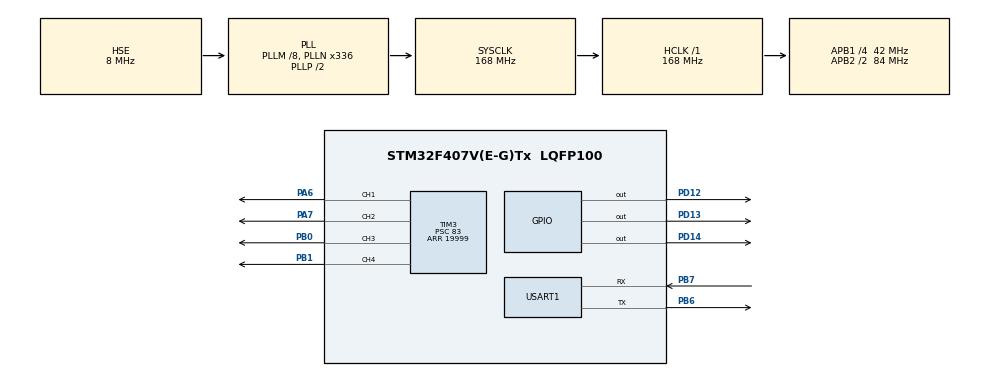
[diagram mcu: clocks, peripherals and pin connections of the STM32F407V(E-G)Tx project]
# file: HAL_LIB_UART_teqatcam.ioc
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Mcu.Family=STM32F4
Mcu.Name=STM32F407V(E-G)Tx
Mcu.Package=LQFP100
NVIC.PriorityGroup=NVIC_PRIORITYGROUP_4
NVIC.USART1_IRQn=true\:0\:0\:false\:false\:true\:true\:true
PA6.Signal=S_TIM3_CH1
PA7.Signal=S_TIM3_CH2
PB0.Signal=S_TIM3_CH3
PB1.Signal=S_TIM3_CH4
PB6.Mode=Asynchronous
PB6.Signal=USART1_TX
PB7.Mode=Asynchronous
PB7.Signal=USART1_RX
PD12.Signal=GPIO_Output
PD13.Signal=GPIO_Output
PD14.Signal=GPIO_Output
PH0-OSC_IN.Mode=HSE-External-Oscillator
PH0-OSC_IN.Signal=RCC_OSC_IN
PH1-OSC_OUT.Mode=HSE-External-Oscillator
PH1-OSC_OUT.Signal=RCC_OSC_OUT
ProjectManager.HeapSize=0x200
ProjectManager.StackSize=0x400
ProjectManager.TargetToolchain=STM32CubeIDE
RCC.48MHZClocksFreq_Value=84000000
RCC.AHBFreq_Value=168000000
RCC.APB1CLKDivider=RCC_HCLK_DIV4
RCC.APB1Freq_Value=42000000
RCC.APB1TimFreq_Value=84000000
RCC.APB2CLKDivider=RCC_HCLK_DIV2
RCC.APB2Freq_Value=84000000
RCC.APB2TimFreq_Value=168000000
RCC.CortexFreq_Value=168000000
RCC.HCLKFreq_Value=168000000
RCC.HSE_VALUE=8000000
RCC.HSI_VALUE=16000000
RCC.LSE_VALUE=32768
RCC.PLLM=8
RCC.PLLN=336
RCC.PLLSourceVirtual=RCC_PLLSOURCE_HSE
RCC.SYSCLKFreq_VALUE=168000000
RCC.SYSCLKSource=RCC_SYSCLKSOURCE_PLLCLK
RCC.VCOOutputFreq_Value=336000000
SH.S_TIM3_CH1.0=TIM3_CH1,PWM Generation1 CH1
SH.S_TIM3_CH2.0=TIM3_CH2,PWM Generation2 CH2
SH.S_TIM3_CH3.0=TIM3_CH3,PWM Generation3 CH3
SH.S_TIM3_CH4.0=TIM3_CH4,PWM Generation4 CH4
TIM3.Channel-PWM\ Generation1\ CH1=TIM_CHANNEL_1
TIM3.Channel-PWM\ Generation2\ CH2=TIM_CHANNEL_2
TIM3.Channel-PWM\ Generation3\ CH3=TIM_CHANNEL_3
TIM3.Channel-PWM\ Generation4\ CH4=TIM_CHANNEL_4
TIM3.Period=19999
TIM3.Prescaler=83
TIM3.Pulse-PWM\ Generation1\ CH1=0
TIM3.Pulse-PWM\ Generation2\ CH2=0
TIM3.Pulse-PWM\ Generation3\ CH3=0
TIM3.Pulse-PWM\ Generation4\ CH4=10000
USART1.VirtualMode=VM_ASYNC
board=custom

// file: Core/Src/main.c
/* USER CODE BEGIN Header */
/**
  ******************************************************************************
  * @file           : main.c
  * @brief          : Main program body
  ******************************************************************************
  * @attention
  *
  * Copyright (c) 2022 STMicroelectronics.
  * All rights reserved.
  *
  * This software is licensed under terms that can be found in the LICENSE file
  * in the root directory of this software component.
  * If no LICENSE file comes with this software, it is provided AS-IS.
  *
  ******************************************************************************
  */
/* USER CODE END Header */
#include "main.h"

/* USER CODE BEGIN Includes */
#include "stdlib.h"
#include "string.h"
/* USER CODE END Includes */

TIM_HandleTypeDef htim3;

UART_HandleTypeDef huart1;

/* USER CODE BEGIN PV */
uint8_t buffrec[5],total ;
int donusum1,donusum2; // değeri 2^x olarak değerlendiriği için saatlerdir ağlamaktatım :))))))) ^^
char gelen[5], *deneme;
/* USER CODE END PV */

void SystemClock_Config(void);
static void MX_GPIO_Init(void);
static void MX_USART1_UART_Init(void);
static void MX_TIM3_Init(void);

/* USER CODE BEGIN 0 */
void led() {
	// 0-2^16-1 değerler arası değerler alınabilr
	//alım formatı x(+/-)...y(+/-)... şekilde x sıfırıncı bit olacak y altıncı bit olacak alınan veri paketi 10 bit olacak
	HAL_UART_Receive_IT(&huart1, (uint8_t*) gelen, 5);	// şu an sadece x ekseni için yazılıyor.
	donusum1 = atoi(gelen);
	if (gelen[4] == 'X') {
		if (gelen[3] == '+') {
			donusum2 = atoi(gelen);
			__HAL_TIM_SET_COMPARE(&htim3, TIM_CHANNEL_1, 1400);
			__HAL_TIM_SET_COMPARE(&htim3, TIM_CHANNEL_2, 1600);
			__HAL_TIM_SET_COMPARE(&htim3, TIM_CHANNEL_3, 1400);
			__HAL_TIM_SET_COMPARE(&htim3, TIM_CHANNEL_4, 1600);
		}
	} else if (gelen[3] == '-') {
		donusum2 = atoi(gelen);
		__HAL_TIM_SET_COMPARE(&htim3, TIM_CHANNEL_1, 1600);
		__HAL_TIM_SET_COMPARE(&htim3, TIM_CHANNEL_2, 1400);
		__HAL_TIM_SET_COMPARE(&htim3, TIM_CHANNEL_3, 1600);
		__HAL_TIM_SET_COMPARE(&htim3, TIM_CHANNEL_4, 1400);
	}
	else {
		__HAL_TIM_SET_COMPARE(&htim3, TIM_CHANNEL_1, 1500);
		__HAL_TIM_SET_COMPARE(&htim3, TIM_CHANNEL_2, 1500);
		__HAL_TIM_SET_COMPARE(&htim3, TIM_CHANNEL_3, 1500);
		__HAL_TIM_SET_COMPARE(&htim3, TIM_CHANNEL_4, 1500);
	}
}
//donusum = atoi(gelen);

/* USER CODE END 0 */

int main(void)
{

  /* MCU Configuration--------------------------------------------------------*/

  /* Reset of all peripherals, Initializes the Flash interface and the Systick. */
  HAL_Init();

  /* Configure the system clock */
  SystemClock_Config();

  /* Initialize all configured peripherals */
  MX_GPIO_Init();
  MX_USART1_UART_Init();
  MX_TIM3_Init();
  /* USER CODE BEGIN 2 */
__HAL_UART_ENABLE_IT(&huart1, UART_IT_RXNE);
__HAL_UART_ENABLE_IT(&huart1, UART_IT_TC);
HAL_TIM_PWM_Start(&htim3, TIM_CHANNEL_1);
HAL_TIM_PWM_Start(&htim3, TIM_CHANNEL_2);
HAL_TIM_PWM_Start(&htim3, TIM_CHANNEL_3);
HAL_TIM_PWM_Start(&htim3, TIM_CHANNEL_4);

  /* USER CODE END 2 */

  /* Infinite loop */
  while (1)
  {

    /* USER CODE BEGIN 3 */
	 // HAL_UART_Receive_IT(&huart1, buffrec, 5);
		led();
  }
  /* USER CODE END 3 */
}

void SystemClock_Config(void)
{
  RCC_OscInitTypeDef RCC_OscInitStruct = {0};
  RCC_ClkInitTypeDef RCC_ClkInitStruct = {0};

  /** Configure the main internal regulator output voltage
  */
  __HAL_RCC_PWR_CLK_ENABLE();
  __HAL_PWR_VOLTAGESCALING_CONFIG(PWR_REGULATOR_VOLTAGE_SCALE1);
  /** Initializes the RCC Oscillators according to the specified parameters
  * in the RCC_OscInitTypeDef structure.
  */
  RCC_OscInitStruct.OscillatorType = RCC_OSCILLATORTYPE_HSE;
  RCC_OscInitStruct.HSEState = RCC_HSE_ON;
  RCC_OscInitStruct.PLL.PLLState = RCC_PLL_ON;
  RCC_OscInitStruct.PLL.PLLSource = RCC_PLLSOURCE_HSE;
  RCC_OscInitStruct.PLL.PLLM = 8;
  RCC_OscInitStruct.PLL.PLLN = 336;
  RCC_OscInitStruct.PLL.PLLP = RCC_PLLP_DIV2;
  RCC_OscInitStruct.PLL.PLLQ = 4;
  if (HAL_RCC_OscConfig(&RCC_OscInitStruct) != HAL_OK)
  {
    Error_Handler();
  }
  /** Initializes the CPU, AHB and APB buses clocks
  */
  RCC_ClkInitStruct.ClockType = RCC_CLOCKTYPE_HCLK|RCC_CLOCKTYPE_SYSCLK
                              |RCC_CLOCKTYPE_PCLK1|RCC_CLOCKTYPE_PCLK2;
  RCC_ClkInitStruct.SYSCLKSource = RCC_SYSCLKSOURCE_PLLCLK;
  RCC_ClkInitStruct.AHBCLKDivider = RCC_SYSCLK_DIV1;
  RCC_ClkInitStruct.APB1CLKDivider = RCC_HCLK_DIV4;
  RCC_ClkInitStruct.APB2CLKDivider = RCC_HCLK_DIV2;

  if (HAL_RCC_ClockConfig(&RCC_ClkInitStruct, FLASH_LATENCY_5) != HAL_OK)
  {
    Error_Handler();
  }
}

static void MX_TIM3_Init(void)
{

  TIM_MasterConfigTypeDef sMasterConfig = {0};
  TIM_OC_InitTypeDef sConfigOC = {0};

  htim3.Instance = TIM3;
  htim3.Init.Prescaler = 83;
  htim3.Init.CounterMode = TIM_COUNTERMODE_UP;
  htim3.Init.Period = 19999;
  htim3.Init.ClockDivision = TIM_CLOCKDIVISION_DIV1;
  htim3.Init.AutoReloadPreload = TIM_AUTORELOAD_PRELOAD_DISABLE;
  if (HAL_TIM_PWM_Init(&htim3) != HAL_OK)
  {
    Error_Handler();
  }
  sMasterConfig.MasterOutputTrigger = TIM_TRGO_RESET;
  sMasterConfig.MasterSlaveMode = TIM_MASTERSLAVEMODE_DISABLE;
  if (HAL_TIMEx_MasterConfigSynchronization(&htim3, &sMasterConfig) != HAL_OK)
  {
    Error_Handler();
  }
  sConfigOC.OCMode = TIM_OCMODE_PWM1;
  sConfigOC.Pulse = 0;
  sConfigOC.OCPolarity = TIM_OCPOLARITY_HIGH;
  sConfigOC.OCFastMode = TIM_OCFAST_DISABLE;
  if (HAL_TIM_PWM_ConfigChannel(&htim3, &sConfigOC, TIM_CHANNEL_1) != HAL_OK)
  {
    Error_Handler();
  }
  if (HAL_TIM_PWM_ConfigChannel(&htim3, &sConfigOC, TIM_CHANNEL_2) != HAL_OK)
  {
    Error_Handler();
  }
  if (HAL_TIM_PWM_ConfigChannel(&htim3, &sConfigOC, TIM_CHANNEL_3) != HAL_OK)
  {
    Error_Handler();
  }
  sConfigOC.Pulse = 10000;
  if (HAL_TIM_PWM_ConfigChannel(&htim3, &sConfigOC, TIM_CHANNEL_4) != HAL_OK)
  {
    Error_Handler();
  }
  HAL_TIM_MspPostInit(&htim3);

}

static void MX_USART1_UART_Init(void)
{

  huart1.Instance = USART1;
  huart1.Init.BaudRate = 115200;
  huart1.Init.WordLength = UART_WORDLENGTH_8B;
  huart1.Init.StopBits = UART_STOPBITS_1;
  huart1.Init.Parity = UART_PARITY_NONE;
  huart1.Init.Mode = UART_MODE_TX_RX;
  huart1.Init.HwFlowCtl = UART_HWCONTROL_NONE;
  huart1.Init.OverSampling = UART_OVERSAMPLING_16;
  if (HAL_UART_Init(&huart1) != HAL_OK)
  {
    Error_Handler();
  }

}

static void MX_GPIO_Init(void)
{
  GPIO_InitTypeDef GPIO_InitStruct = {0};

  /* GPIO Ports Clock Enable */
  __HAL_RCC_GPIOH_CLK_ENABLE();
  __HAL_RCC_GPIOA_CLK_ENABLE();
  __HAL_RCC_GPIOB_CLK_ENABLE();
  __HAL_RCC_GPIOD_CLK_ENABLE();

  /*Configure GPIO pin Output Level */
  HAL_GPIO_WritePin(GPIOD, GPIO_PIN_12|GPIO_PIN_13|GPIO_PIN_14, GPIO_PIN_RESET);

  /*Configure GPIO pins : PD12 PD13 PD14 */
  GPIO_InitStruct.Pin = GPIO_PIN_12|GPIO_PIN_13|GPIO_PIN_14;
  GPIO_InitStruct.Mode = GPIO_MODE_OUTPUT_PP;
  GPIO_InitStruct.Pull = GPIO_NOPULL;
  GPIO_InitStruct.Speed = GPIO_SPEED_FREQ_LOW;
  HAL_GPIO_Init(GPIOD, &GPIO_InitStruct);

}

void Error_Handler(void)
{
  __disable_irq();
  while (1)
  {
  }
}
